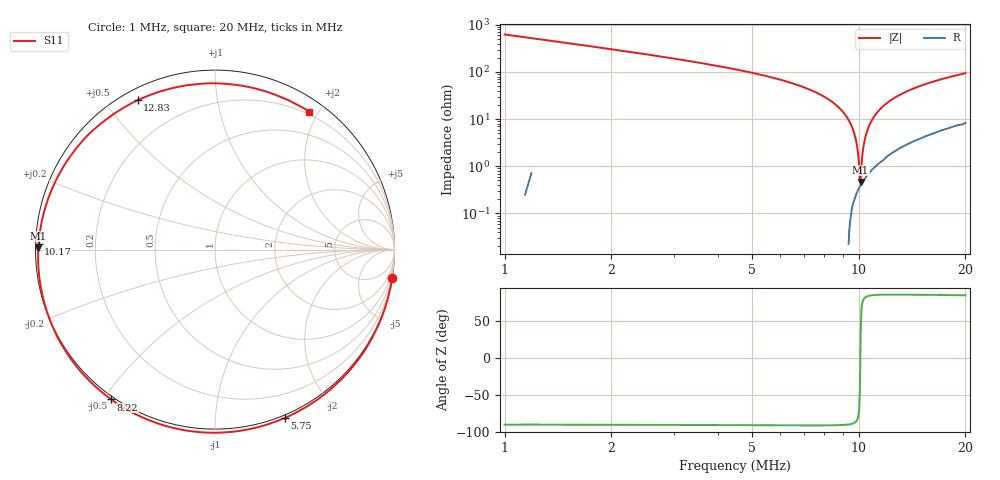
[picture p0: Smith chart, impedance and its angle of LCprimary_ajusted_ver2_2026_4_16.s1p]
# HZ S RI R 50
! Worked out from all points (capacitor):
!   401 points, 1 MHz to 20 MHz, reference 50 ohm
!   read as one part to ground: C = 251 pF near 1.095 MHz
!   lowest |Z| = 464 mohm at 10.12 MHz (marker M1)
!   series resonance near 10.1 MHz, so ESL is about 990 nH
!   S11 on the Smith chart (normalised r, x): 1 MHz: -0, -13; 5.75 MHz: -0.02, -1.50; 8.22 MHz: -0.01, -0.52; 10.17 MHz: 0.01, +0.02; 12.83 MHz: 0.04, +0.61; 20 MHz: 0.17, +1.88
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1000000  0.9875 -0.1587
2282500  0.9327 -0.3664
3375000  0.8405 -0.5517
4040000  0.7559 -0.6662
4657500  0.6516 -0.7717
5227500  0.5292 -0.8634
5750000  0.3898 -0.9375
6462500  0.1548 -1.007
7080000  -0.0889 -1.017
7602500  -0.3144 -0.97
8125000  -0.5392 -0.8616
8220000  -0.5783 -0.8348
8742500  -0.7715 -0.6507
9217500  -0.9003 -0.4392
9645000  -0.967 -0.228
1.012e7  -0.9841 0.0093
1.01675e7  -0.9828 0.0325
1.05e7  -0.9581 0.188
1.107e7  -0.8674 0.422
1.164e7  -0.7381 0.6059
1.221e7  -0.5909 0.7367
1.28275e7  -0.431 0.8319
1.2875e7  -0.4191 0.8376
1.392e7  -0.1764 0.9118
1.525e7  0.0672 0.923
1.63425e7  0.2184 0.8991
1.7625e7  0.3535 0.8559
2e7  0.5244 0.7671
